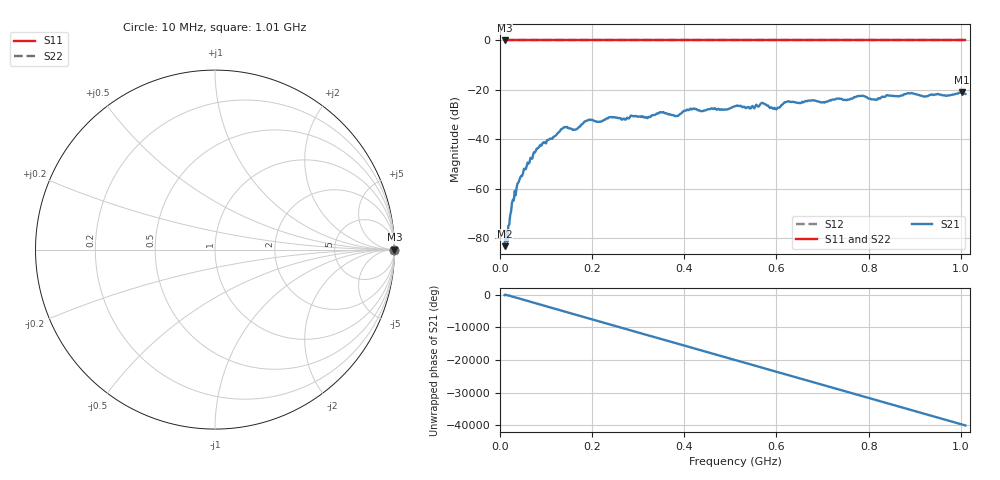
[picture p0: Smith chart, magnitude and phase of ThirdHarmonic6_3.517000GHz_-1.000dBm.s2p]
! 8/17/2025 11:31:39 AM
! C:\ANRITSUVNA\TEMP\TEMP.S2P
! CHANNEL.1
! TR.MEASUREMENT
! RAW.DATA
! RF.CORRECTION.OFF
! AVERAGING.OFF
! IF.BANDWIDTH: 5KHZ
! SWEEPTYPE:  FREQ.SWEEP(Linear)
! Reference Plane Port Info
! PORT:  PORT1  PORT2
! DISTANCE:  0  m  0  m
! TIME:  0  s  0  s
! PHASE.OFFSET:  0  deg.  0  deg.
! LOSS:  0  dB  0  dB
! REF.LOSS:  0  dB  0  dB
! REF.FREQ:  0  Hz  0  Hz
! Power Info
! POWER:  -20  dBm  -20  dBm
! EFF.POWER:  -20  dBm  -20  dBm
! SOURCE.ATTEN:  0  dB  0  dB
! TEST.ATTEN:  0  dB  0  dB
# GHZ S RI R 50.0
! FREQ.GHZ  S11RE  S11IM  S21RE  S21IM  S12RE  S12IM  S22RE  S22IM
!; PortSelection: Port_12
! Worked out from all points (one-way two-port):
!   501 points, 10 MHz to 1.01 GHz, reference 50 ohm
!   highest |S21| = -20.96 dB at 1.002 GHz (marker M1); lowest = -83.2 dB at 10 MHz (marker M2)
!   lowest |S11| = 0.0 dB at 10 MHz (marker M3)
!   |S11| at or under -10 dB: nowhere
!   |S22| runs from 0.0 to 0.0 dB; largest |S21 - S12| = 1.1
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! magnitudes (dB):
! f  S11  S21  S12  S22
! 10 MHz  0.0  -83.2  0.0  0.0
! 18 MHz  0.0  -75.0  0.0  0.0
! 28 MHz  0.0  -64.4  0.0  0.0
! 40 MHz  0.0  -57.5  0.0  0.0
! 76 MHz  0.0  -45.3  0.0  0.0
! 136 MHz  0.0  -35.6  0.0  0.0
! 162 MHz  0.0  -36.2  0.0  0.0
! 178 MHz  0.0  -33.9  0.0  0.0
! 194 MHz  0.0  -32.0  0.0  0.0
! 344 MHz  0.0  -29.5  0.0  0.0
! 384 MHz  0.0  -30.6  0.0  0.0
! 416 MHz  0.0  -28.0  0.0  0.0
! 510 MHz  0.0  -26.6  0.0  0.0
! 570 MHz  0.0  -25.3  0.0  0.0
! 596 MHz  0.0  -27.3  0.0  0.0
! 622 MHz  0.0  -24.8  0.0  0.0
! 678 MHz  0.0  -24.3  0.0  0.0
! 784 MHz  0.0  -22.4  0.0  0.0
! 814 MHz  0.0  -23.9  0.0  0.0
! 844 MHz  0.0  -22.3  0.0  0.0
! 1.002 GHz  0.0  -21.0  0.0  0.0
! 1.01 GHz  0.0  -21.6  0.0  0.0
